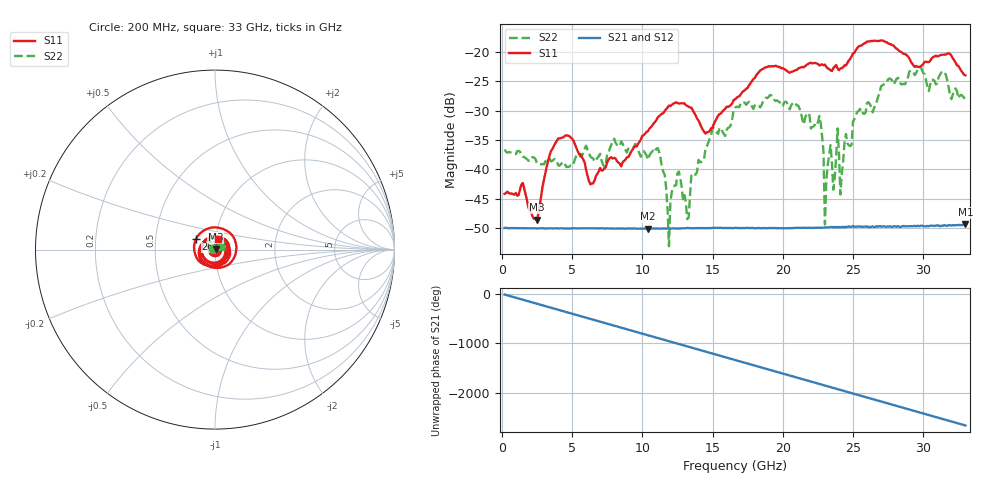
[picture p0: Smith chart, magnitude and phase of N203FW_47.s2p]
# GHZ S RI R 50
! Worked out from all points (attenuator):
!   329 points, 200 MHz to 33 GHz, reference 50 ohm
!   highest |S21| = -49.37 dB at 33 GHz (marker M1); lowest = -50.1 dB at 10.4 GHz (marker M2)
!   lowest |S11| = -48.6 dB at 2.5 GHz (marker M3), VSWR 1.01, Z = 50.3 + j0.145 ohm
!   |S11| at or under -10 dB: start of sweep to end of sweep
!   |S22| runs from -53.1 to -22.7 dB; largest |S21 - S12| = 8.8e-05
!   S11 on the Smith chart (normalised r, x): 200 MHz: 1.01, +0.00; 26 GHz: 0.80, +0.09; 33 GHz: 1.02, +0.13
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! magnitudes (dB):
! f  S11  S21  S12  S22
! 200 MHz  -44.2  -50.0  -49.9  -36.6
! 2.5 GHz  -48.6  -50.1  -50.0  -39.0
! 4 GHz  -34.8  -50.0  -50.0  -39.2
! 5.7 GHz  -37.9  -50.0  -50.0  -37.6
! 10.4 GHz  -33.5  -50.1  -50.1  -38.4
! 11.2 GHz  -31.0  -50.1  -50.1  -37.1
! 11.9 GHz  -29.1  -50.1  -50.0  -53.1
! 12.5 GHz  -28.7  -50.1  -50.1  -40.7
! 13.3 GHz  -29.3  -50.0  -50.0  -48.2
! 16.6 GHz  -28.1  -49.9  -50.0  -29.5
! 22.1 GHz  -22.0  -49.9  -49.9  -32.8
! 22.7 GHz  -22.2  -49.9  -49.9  -32.1
! 22.9 GHz  -22.3  -49.9  -49.9  -37.0
! 23 GHz  -22.2  -49.9  -49.8  -49.4
! 23.4 GHz  -23.1  -49.8  -49.8  -35.9
! 23.6 GHz  -22.8  -49.8  -49.8  -43.5
! 23.9 GHz  -22.8  -49.8  -49.8  -33.0
! 24.1 GHz  -22.8  -49.8  -49.8  -44.3
! 24.5 GHz  -22.3  -49.8  -49.7  -34.0
! 26 GHz  -18.3  -49.8  -49.7  -28.7
! 27.6 GHz  -18.6  -49.7  -49.7  -24.5
! 33 GHz  -24.0  -49.4  -49.4  -28.3
